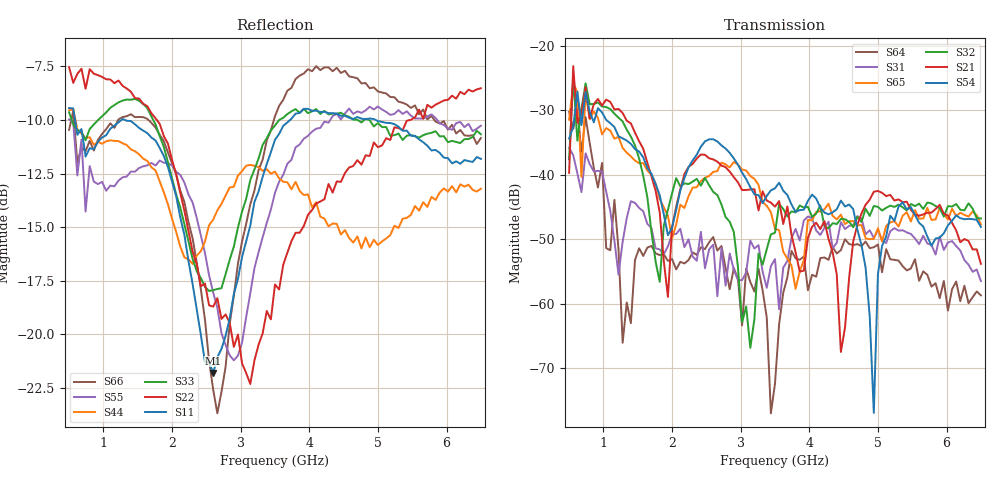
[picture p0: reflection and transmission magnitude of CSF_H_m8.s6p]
!Keysight Technologies,M9804A,MY58100912,A.14.10.03
!Date: Thursday, April 27, 2023 10:28:33
!Correction: S11(C  6-Port  )
!S12(C  6-Port  )
!S13(C  6-Port  )
!S14(C  6-Port  )
!S15(C  6-Port  )
!S16(C  6-Port  )
!S21(C  6-Port  )
!S22(C  6-Port  )
!S23(C  6-Port  )
!S24(C  6-Port  )
!S25(C  6-Port  )
!S26(C  6-Port  )
!S31(C  6-Port  )
!S32(C  6-Port  )
!S33(C  6-Port  )
!S34(C  6-Port  )
!S35(C  6-Port  )
!S36(C  6-Port  )
!S41(C  6-Port  )
!S42(C  6-Port  )
!S43(C  6-Port  )
!S44(C  6-Port  )
!S45(C  6-Port  )
!S46(C  6-Port  )
!S51(C  6-Port  )
!S52(C  6-Port  )
!S53(C  6-Port  )
!S54(C  6-Port  )
!S55(C  6-Port  )
!S56(C  6-Port  )
!S61(C  6-Port  )
!S62(C  6-Port  )
!S63(C  6-Port  )
!S64(C  6-Port  )
!S65(C  6-Port  )
!S66(C  6-Port  )
!S6P File: Measurement: :
# Hz S  RI  R 50
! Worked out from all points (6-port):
!   101 points, 500 MHz to 6.5 GHz, reference 50 ohm
!   strongest paths, dB at 500 MHz, 2 GHz, 3.5 GHz, 5 GHz, 6.5 GHz:
!     S54: -34.4, -48.2, -42.1, -55.4, -48.1
!     S21: -39.7, -48.2, -44.9, -42.5, -53.8
!     S32: -37.6, -42.9, -49.0, -45.0, -46.8
!     S65: -31.5, -49.9, -48.4, -48.3, -47.7
!     S31: -35.8, -49.2, -53.1, -48.6, -56.5
!     S64: -30.2, -53.1, -72.4, -50.8, -58.7
!   lowest |S11| = -21.8 dB at 2.6 GHz (marker M1), VSWR 1.18, Z = 42.7 + j1.88 ohm
!   |S11| at or under -10 dB: 586 MHz to 1.263 GHz (677.4 MHz wide, 73.3 % of centre); 1.311 GHz to 3.721 GHz (2.409 GHz wide, 95.8 % of centre); 4.965 GHz to end of sweep
